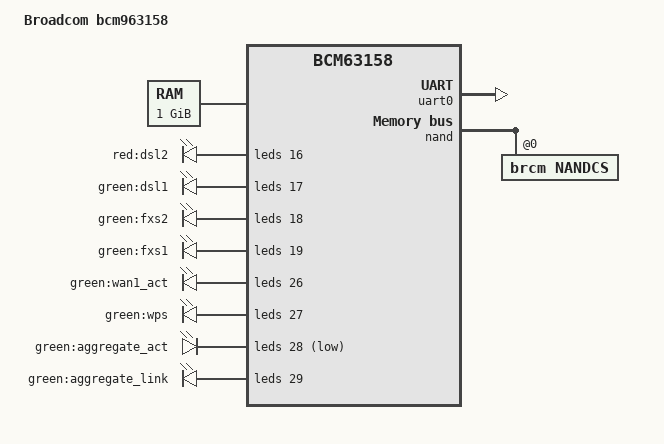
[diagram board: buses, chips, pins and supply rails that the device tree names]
// SPDX-License-Identifier: GPL-2.0+
/*
 * Copyright (C) 2019 Philippe Reynes <philippe.reynes@softathome.com>
 */

/dts-v1/;

#include "bcm63158.dtsi"

/ {
	model = "Broadcom bcm963158";
	compatible = "broadcom,bcm963158", "brcm,bcm63158";

	aliases {
		serial0 = &uart0;
	};

	chosen {
		stdout-path = "serial0:115200n8";
	};

	memory {
		device_type = "memory";
		reg = <0x0 0x0 0x0 0x40000000>;
	};
};

&uart0 {
	u-boot,dm-pre-reloc;
	status = "okay";
};

&gpio0 {
	status = "okay";
};

&gpio1 {
	status = "okay";
};

&gpio2 {
	status = "okay";
};

&gpio3 {
	status = "okay";
};

&gpio4 {
	status = "okay";
};

&gpio5 {
	status = "okay";
};

&gpio6 {
	status = "okay";
};

&gpio7 {
	status = "okay";
};

&nand {
	status = "okay";
	write-protect = <0>;
	#address-cells = <1>;
	#size-cells = <0>;

	nandcs@0 {
		compatible = "brcm,nandcs";
		reg = <0>;
		nand-ecc-strength = <4>;
		nand-ecc-step-size = <512>;
		brcm,nand-oob-sector-size = <16>;
	};
};

&leds {
	status = "okay";
	#address-cells = <1>;
	#size-cells = <0>;
	brcm,serial-led-en-pol;
	brcm,serial-led-data-ppol;

	led@16 {
		reg = <16>;
		label = "red:dsl2";
	};

	led@17 {
		reg = <17>;
		label = "green:dsl1";
	};

	led@18 {
		reg = <18>;
		label = "green:fxs2";
	};

	led@19 {
		reg = <19>;
		label = "green:fxs1";
	};

	led@26 {
		reg = <26>;
		label = "green:wan1_act";
	};

	led@27 {
		reg = <27>;
		label = "green:wps";
	};

	led@28 {
		reg = <28>;
		active-low;
		label = "green:aggregate_act";
	};

	led@29 {
		reg = <29>;
		label = "green:aggregate_link";
	};
};
